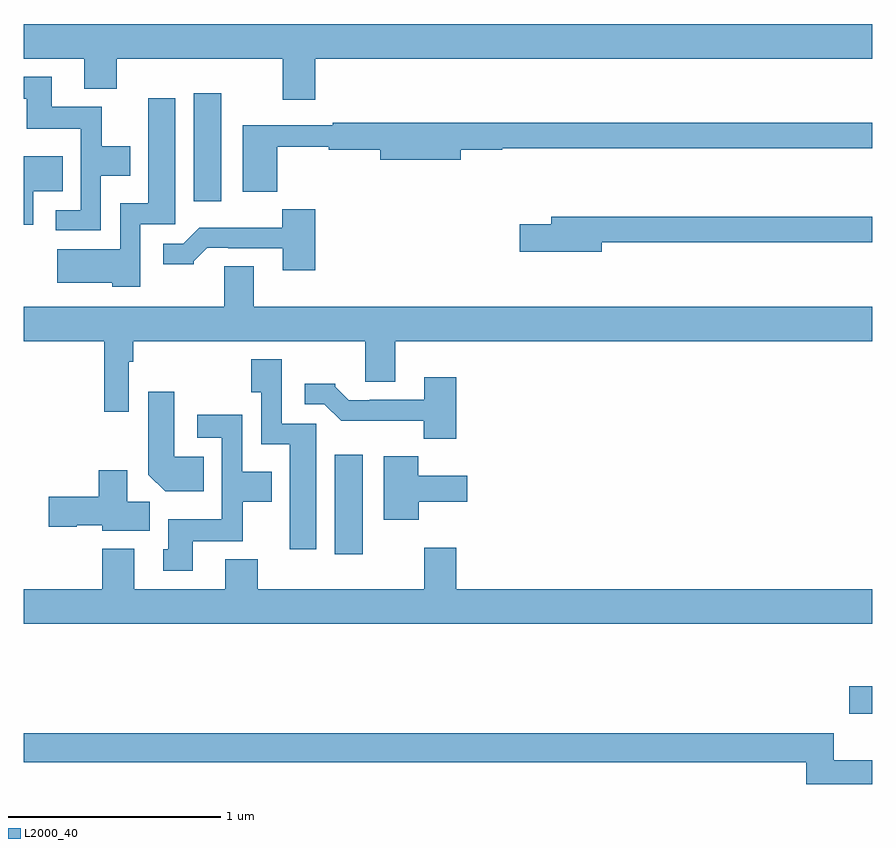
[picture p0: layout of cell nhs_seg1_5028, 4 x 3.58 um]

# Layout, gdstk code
import gdstk
lib = gdstk.Library(unit=1e-6, precision=1e-09)
def R(c, l, rs):  # rectangles x0, y0, x1, y1
    for r in rs: c.add(gdstk.rectangle(r[:2], r[2:], *l))
def P(c, l, *ps):  # polygons
    for p in ps: c.add(gdstk.Polygon(p, *l))
L2000_40 = (2000, 40)

nhs_seg1_5028 = lib.new_cell('nhs_seg1_5028')
R(nhs_seg1_5028, L2000_40, [(386.892,552.641,387,552.771), (384.467,553.392,384.598,553.861), (383.801,555.057,383.932,555.565)])
P(nhs_seg1_5028, L2000_40, [(384.374,555.728),(387,555.728),(387,555.892),(383,555.892),(383,555.728),(383.285,555.728),(383.285,555.587),(383.438,555.587),(383.438,555.728),(384.221,555.728),(384.221,555.534),(384.374,555.534)],
  [(383.364,555.176),(383.503,555.176),(383.503,555.316),(383.367,555.316),(383.367,555.502),(383.131,555.502),(383.131,555.643),(383,555.643),(383,555.54),(383.015,555.54),(383.015,555.398),(383.268,555.398),(383.268,555.015),(383.151,555.015),(383.151,554.919),(383.364,554.919)],
  [(383.55,554.949),(383.713,554.949),(383.713,555.541),(383.588,555.541),(383.588,555.046),(383.454,555.046),(383.454,554.83),(383.157,554.83),(383.157,554.672),(383.418,554.672),(383.418,554.654),(383.55,554.654)],
  [(384.194,555.313),(384.438,555.313),(384.438,555.298),(384.68,555.298),(384.68,555.251),(385.06,555.251),(385.06,555.298),(385.256,555.298),(385.256,555.306),(387,555.306),(387,555.427),(384.457,555.427),(384.457,555.414),(384.032,555.414),(384.032,555.101),(384.194,555.101)],
  [(383.044,555.104),(383.183,555.104),(383.183,555.268),(383,555.268),(383,554.946),(383.044,554.946)],
  [(384.374,555.019),(384.219,555.019),(384.219,554.932),(383.827,554.932),(383.751,554.856),(383.658,554.856),(383.658,554.759),(383.802,554.759),(383.802,554.774),(383.866,554.838),(383.965,554.838),(383.965,554.835),(384.221,554.835),(384.221,554.73),(384.374,554.73)],
  [(385.726,554.862),(387,554.862),(387,554.983),(385.487,554.983),(385.487,554.949),(385.338,554.949),(385.338,554.819),(385.726,554.819)],
  [(383.496,554.3),(383.516,554.3),(383.516,554.396),(384.611,554.396),(384.611,554.206),(384.751,554.206),(384.751,554.396),(387,554.396),(387,554.56),(384.085,554.56),(384.085,554.75),(383.945,554.75),(383.945,554.56),(383,554.56),(383,554.396),(383.38,554.396),(383.38,554.064),(383.496,554.064)],
  [(384.379,554.007),(384.216,554.007),(384.216,554.311),(384.073,554.311),(384.073,554.155),(384.12,554.155),(384.12,553.91),(384.254,553.91),(384.254,553.416),(384.379,553.416)],
  [(385.04,554.227),(384.887,554.227),(384.887,554.121),(384.631,554.121),(384.631,554.118),(384.532,554.118),(384.468,554.182),(384.468,554.197),(384.324,554.197),(384.324,554.1),(384.417,554.1),(384.496,554.022),(384.885,554.022),(384.885,553.937),(385.04,553.937)],
  [(383.849,553.852),(383.71,553.852),(383.71,554.158),(383.588,554.158),(383.588,553.766),(383.666,553.688),(383.849,553.688)],
  [(383.797,553.454),(384.033,553.454),(384.033,553.64),(384.169,553.64),(384.169,553.78),(384.03,553.78),(384.03,554.05),(383.817,554.05),(383.817,553.941),(383.934,553.941),(383.934,553.558),(383.681,553.558),(383.681,553.416),(383.657,553.416),(383.657,553.314),(383.797,553.314)],
  [(384.862,553.64),(385.09,553.64),(385.09,553.762),(384.86,553.762),(384.86,553.855),(384.698,553.855),(384.698,553.554),(384.862,553.554)],
  [(383.593,553.64),(383.488,553.64),(383.488,553.789),(383.354,553.789),(383.354,553.664),(383.118,553.664),(383.118,553.522),(383.25,553.522),(383.25,553.529),(383.37,553.529),(383.37,553.502),(383.593,553.502)],
  [(387,553.228),(385.04,553.228),(385.04,553.423),(384.887,553.423),(384.887,553.228),(384.104,553.228),(384.104,553.369),(383.951,553.369),(383.951,553.228),(383.521,553.228),(383.521,553.417),(383.369,553.417),(383.369,553.228),(383,553.228),(383,553.064),(387,553.064)],
  [(387,552.42),(386.818,552.42),(386.818,552.548),(383,552.548),(383,552.412),(386.689,552.412),(386.689,552.309),(387,552.309)])

lib.write_gds('nhs_seg1_5028.gds')
